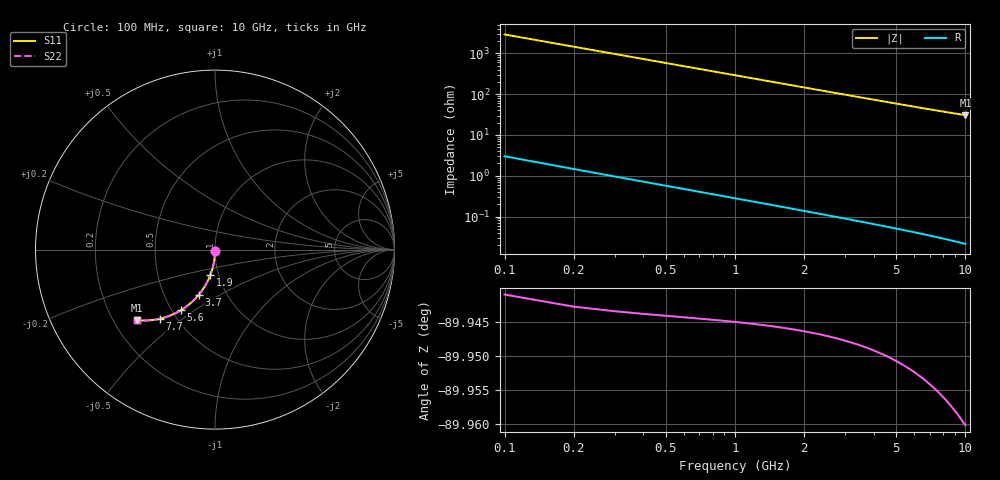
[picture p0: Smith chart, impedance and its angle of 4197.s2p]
# Hz S RI R 50.00
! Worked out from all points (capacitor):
!   100 points, 100 MHz to 10 GHz, reference 50 ohm
!   read as one part in shunt: C = 545 fF near 100 MHz
!   lowest |Z| = 30.6 ohm at 10 GHz (marker M1)
!   S11 on the Smith chart (normalised r, x): 100 MHz: 1.00, -0.02; 1.9 GHz: 0.91, -0.26; 3.7 GHz: 0.74, -0.40; 5.6 GHz: 0.56, -0.44; 7.7 GHz: 0.41, -0.41; 10 GHz: 0.30, -0.36
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1e8  0.000238 -0.00756  0.9996 -0.00956  0.9996 -0.00956  0.000238 -0.00756
2e8  1.46e-05 -0.0151  0.9994 -0.0191  0.9994 -0.0191  1.46e-05 -0.0151
3e8  -0.000353 -0.0227  0.999 -0.0287  0.999 -0.0287  -0.000353 -0.0227
4e8  -0.000866 -0.0302  0.9985 -0.0382  0.9985 -0.0382  -0.000866 -0.0302
5e8  -0.00152 -0.0377  0.9978 -0.0477  0.9978 -0.0477  -0.00152 -0.0377
6e8  -0.00232 -0.0453  0.997 -0.0573  0.997 -0.0573  -0.00232 -0.0453
8e8  -0.00435 -0.0602  0.9949 -0.0762  0.9949 -0.0762  -0.00435 -0.0602
1.1e9  -0.00845 -0.0824  0.9906 -0.1044  0.9906 -0.1044  -0.00845 -0.0824
1.4e9  -0.0138 -0.1043  0.9852 -0.1323  0.9852 -0.1323  -0.0138 -0.1043
1.8e9  -0.0228 -0.1328  0.9759 -0.1688  0.9759 -0.1688  -0.0228 -0.1328
1.9e9  -0.0254 -0.1398  0.9732 -0.1778  0.9732 -0.1778  -0.0254 -0.1398
2.2e9  -0.0338 -0.1603  0.9645 -0.2044  0.9645 -0.2044  -0.0338 -0.1603
2.6e9  -0.0468 -0.1867  0.9512 -0.2389  0.9512 -0.2389  -0.0468 -0.1867
3.4e9  -0.0778 -0.2355  0.9192 -0.3039  0.9192 -0.3039  -0.0778 -0.2355
3.7e9  -0.091 -0.2523  0.9056 -0.3267  0.9056 -0.3267  -0.091 -0.2523
4.4e9  -0.1244 -0.2879  0.8709 -0.3765  0.8709 -0.3765  -0.1244 -0.2879
5.1e9  -0.1609 -0.3182  0.833 -0.4212  0.833 -0.4212  -0.1609 -0.3182
5.6e9  -0.1883 -0.3366  0.8045 -0.4499  0.8045 -0.4499  -0.1883 -0.3366
6.7e9  -0.2507 -0.3677  0.7393 -0.5038  0.7393 -0.5038  -0.2507 -0.3677
7.7e9  -0.3079 -0.3852  0.6789 -0.5423  0.6789 -0.5423  -0.3079 -0.3852
8.4e9  -0.3473 -0.392  0.6371 -0.564  0.6371 -0.564  -0.3473 -0.392
1e10  -0.4325 -0.393  0.5451 -0.5995  0.5451 -0.5995  -0.4325 -0.393
